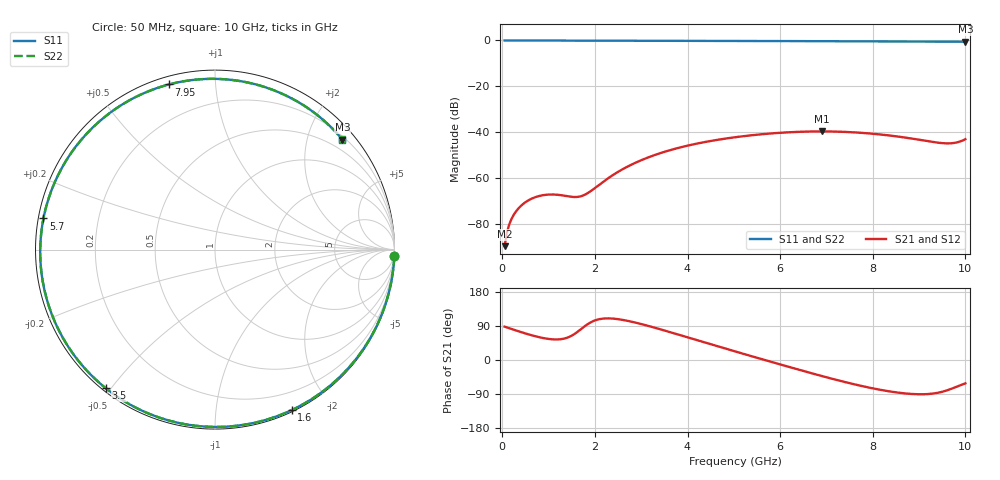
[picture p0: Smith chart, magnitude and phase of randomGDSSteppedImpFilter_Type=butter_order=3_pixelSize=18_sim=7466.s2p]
! freq	dB(S11)	phase(S11)	dB(S12)	phase(S12)
!  dB(S21)	phase(S21)	dB(S22)	phase(S22)
!S-par simulation data
#  GHz  S  DB  R 50
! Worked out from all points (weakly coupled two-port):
!   200 points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, 50 MHz to 10 GHz, reference 50 ohm
!   highest |S21| = -39.71 dB at 6.9 GHz (marker M1); lowest = -89.8 dB at 50 MHz (marker M2)
!   lowest |S11| = -0.6 dB at 10 GHz (marker M3), VSWR 31.16, Z = 13.1 + j133 ohm
!   |S11| at or under -10 dB: nowhere
!   |S22| runs from -0.6 to 0.0 dB; largest |S21 - S12| = 0
!   S11 on the Smith chart (normalised r, x): 50 MHz: 0, -54; 1.6 GHz: 0.02, -1.59; 3.5 GHz: 0.01, -0.49; 5.7 GHz: 0.01, +0.09; 7.95 GHz: 0.04, +0.76; 10 GHz: 0.26, +2.67
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0.05  -0.00 -2.1  -89.81 88.0  -89.81 88.0  -0.00 -2.1
0.15  -0.01 -6.3  -80.33 83.8  -80.33 83.8  -0.01 -6.3
0.35  -0.02 -14.6  -73.30 75.8  -73.30 75.8  -0.02 -14.6
0.5  -0.03 -20.8  -70.62 70.0  -70.62 70.0  -0.03 -20.8
0.7  -0.04 -29.1  -68.52 63.1  -68.52 63.1  -0.04 -29.0
1.05  -0.05 -43.2  -67.25 54.9  -67.25 54.9  -0.05 -43.1
1.6  -0.08 -64.4  -68.33 72.1  -68.33 72.1  -0.08 -64.4
1.75  -0.08 -70.0  -67.64 86.3  -67.64 86.3  -0.08 -70.0
2.5  -0.11 -96.4  -57.36 107.8  -57.36 107.8  -0.11 -96.4
3.4  -0.14 -125.2  -49.28 81.5  -49.28 81.5  -0.14 -125.2
3.5  -0.15 -128.2  -48.63 77.9  -48.63 77.9  -0.15 -128.2
4.3  -0.18 -151.6  -44.63 48.9  -44.63 48.9  -0.18 -151.5
5.05  -0.22 -172.5  -42.19 21.8  -42.19 21.8  -0.22 -172.4
5.7  -0.25 169.7  -40.77 -1.1  -40.77 -1.1  -0.25 169.8
6.7  -0.31 142.0  -39.73 -35.7  -39.73 -35.7  -0.31 142.1
6.9  -0.33 136.3  -39.71 -42.3  -39.71 -42.3  -0.33 136.5
7.95  -0.40 105.6  -40.64 -73.6  -40.64 -73.6  -0.40 105.7
8.35  -0.43 93.4  -41.46 -82.6  -41.46 -82.6  -0.43 93.5
8.95  -0.47 74.5  -43.18 -90.3  -43.18 -90.3  -0.47 74.7
9.55  -0.52 55.3  -44.90 -82.2  -44.90 -82.2  -0.52 55.5
9.8  -0.54 47.2  -44.58 -70.9  -44.58 -70.9  -0.54 47.4
10  -0.56 40.8  -43.12 -61.5  -43.12 -61.5  -0.56 41.0
